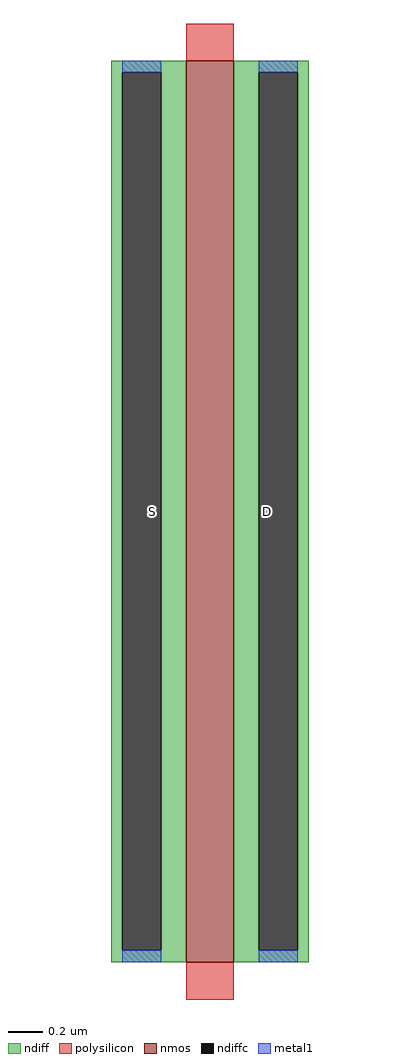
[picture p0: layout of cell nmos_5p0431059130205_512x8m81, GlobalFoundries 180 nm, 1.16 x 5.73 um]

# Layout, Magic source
magic
tech gf180mcuD
magscale 1 10
<< nmos >>
rect 0 0 56 1058
<< ndiff >>
rect -88 1045 0 1058
rect -88 14 -75 1045
rect -29 14 0 1045
rect -88 0 0 14
rect 56 1045 144 1058
rect 56 14 85 1045
rect 131 14 144 1045
rect 56 0 144 14
<< ndiffc >>
rect -75 14 -29 1045
rect 85 14 131 1045
<< polysilicon >>
rect 0 1058 56 1102
rect 0 -44 56 0
<< metal1 >>
rect -75 1045 -29 1058
rect -75 0 -29 14
rect 85 1045 131 1058
rect 85 0 131 14
<< labels >>
flabel ndiffc -40 529 -40 529 0 FreeSans 93 0 0 0 S
flabel ndiffc 96 529 96 529 0 FreeSans 93 0 0 0 D
<< end >>
